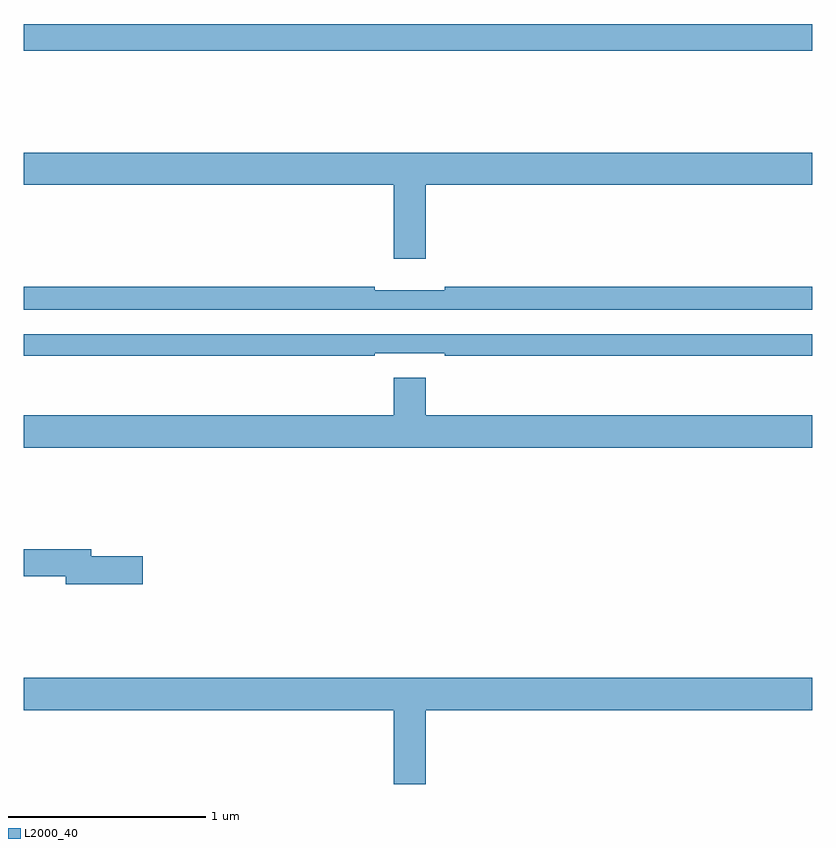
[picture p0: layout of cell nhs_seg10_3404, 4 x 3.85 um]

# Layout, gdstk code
import gdstk
lib = gdstk.Library(unit=1e-6, precision=1e-09)
def R(c, l, rs):  # rectangles x0, y0, x1, y1
    for r in rs: c.add(gdstk.rectangle(r[:2], r[2:], *l))
def P(c, l, *ps):  # polygons
    for p in ps: c.add(gdstk.Polygon(p, *l))
L2000_40 = (2000, 40)

nhs_seg10_3404 = lib.new_cell('nhs_seg10_3404')
R(nhs_seg10_3404, L2000_40, [(295,1314.316,299,1314.452)])
P(nhs_seg10_3404, L2000_40, [(297.04,1313.636),(299,1313.636),(299,1313.8),(295,1313.8),(295,1313.636),(296.876,1313.636),(296.876,1313.262),(297.04,1313.262)],
  [(299,1313.12),(297.136,1313.12),(297.136,1313.101),(296.78,1313.101),(296.78,1313.12),(295,1313.12),(295,1313.004),(299,1313.004)],
  [(296.78,1312.782),(297.136,1312.782),(297.136,1312.77),(299,1312.77),(299,1312.878),(295,1312.878),(295,1312.77),(296.78,1312.77)],
  [(299,1312.468),(297.04,1312.468),(297.04,1312.657),(296.876,1312.657),(296.876,1312.468),(295,1312.468),(295,1312.304),(299,1312.304)],
  [(295.603,1311.752),(295.342,1311.752),(295.342,1311.788),(295,1311.788),(295,1311.652),(295.214,1311.652),(295.214,1311.61),(295.603,1311.61)],
  [(297.04,1310.972),(299,1310.972),(299,1311.136),(295,1311.136),(295,1310.972),(296.876,1310.972),(296.876,1310.598),(297.04,1310.598)])

lib.write_gds('nhs_seg10_3404.gds')
